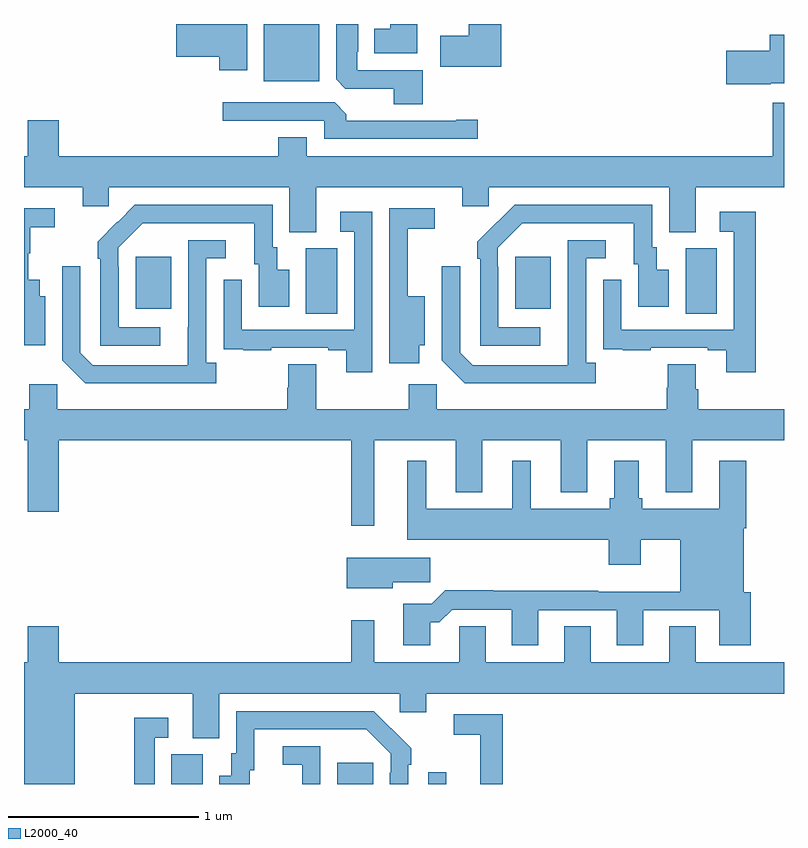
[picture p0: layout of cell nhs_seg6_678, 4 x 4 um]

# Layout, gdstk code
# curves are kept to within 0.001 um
import gdstk
lib = gdstk.Library(unit=1e-6, precision=1e-09)
def R(c, l, rs):  # rectangles x0, y0, x1, y1
    for r in rs: c.add(gdstk.rectangle(r[:2], r[2:], *l))
def P(c, l, *ps):  # polygons
    for p in ps: c.add(gdstk.Polygon(p, *l))
L2000_40 = (2000, 40)

nhs_seg6_678 = lib.new_cell('nhs_seg6_678')
R(nhs_seg6_678, L2000_40, [(153.776,973.5,153.94,973.656), (154.649,973.5,154.837,973.612), (155.127,973.5,155.223,973.561), (154.484,975.976,154.648,976.32), (156.482,975.976,156.646,976.32), (153.587,976.001,153.775,976.276), (155.585,976.001,155.773,976.276), (154.262,977.198,154.555,977.5)])
P(nhs_seg6_678, L2000_40, [(154.174,977.5),(153.8,977.5),(153.8,977.327),(154.028,977.327),(154.028,977.256),(154.174,977.256)],
  [(155.512,977.5),(155.342,977.5),(155.342,977.439),(155.19,977.439),(155.19,977.276),(155.512,977.276)],
  [(155.099,977.256),(154.755,977.256),(154.755,977.353),(154.759,977.353),(154.759,977.5),(154.643,977.5),(154.643,977.209),(154.692,977.16),(154.946,977.16),(154.946,977.077),(155.099,977.077)],
  [(155.071,977.5),(154.928,977.5),(154.928,977.476),(154.844,977.476),(154.844,977.345),(155.071,977.345)],
  [(156.93,977.189),(157,977.189),(157,977.443),(156.926,977.443),(156.926,977.36),(156.696,977.36),(156.696,977.182),(156.93,977.182)],
  [(155.389,976.997),(155.276,976.997),(155.276,976.992),(154.697,976.992),(154.697,977.026),(154.635,977.088),(154.047,977.088),(154.047,976.992),(154.581,976.992),(154.581,976.896),(155.389,976.896)],
  [(154.537,976.64),(155.306,976.64),(155.306,976.542),(155.445,976.542),(155.445,976.64),(156.395,976.64),(156.395,976.405),(156.535,976.405),(156.535,976.64),(157,976.64),(157,977.086),(156.942,977.086),(156.942,976.804),(154.489,976.804),(154.489,976.903),(154.337,976.903),(154.337,976.804),(153.184,976.804),(153.184,976.993),(153.02,976.993),(153.02,976.804),(153,976.804),(153,976.64),(153.308,976.64),(153.308,976.542),(153.447,976.542),(153.447,976.64),(154.397,976.64),(154.397,976.405),(154.537,976.405)],
  [(153.718,975.903),(153.498,975.903),(153.498,976.223),(153.495,976.223),(153.495,976.323),(153.624,976.452),(154.211,976.452),(154.211,976.236),(154.235,976.236),(154.235,976.011),(154.396,976.011),(154.396,976.207),(154.333,976.207),(154.333,976.326),(154.308,976.326),(154.308,976.548),(153.584,976.548),(153.387,976.353),(153.387,976.265),(153.402,976.265),(153.402,975.807),(153.718,975.807)],
  [(155.716,975.903),(155.496,975.903),(155.496,976.223),(155.493,976.223),(155.493,976.323),(155.622,976.452),(156.209,976.452),(156.209,976.236),(156.233,976.236),(156.233,976.011),(156.394,976.011),(156.394,976.207),(156.331,976.207),(156.331,976.326),(156.306,976.326),(156.306,976.548),(155.582,976.548),(155.385,976.353),(155.385,976.265),(155.4,976.265),(155.4,975.807),(155.716,975.807)],
  [(153.112,976.066),(153.082,976.066),(153.082,976.153),(153.023,976.153),(153.023,976.293),(153.034,976.293),(153.034,976.429),(153.163,976.429),(153.163,976.53),(153,976.53),(153,975.809),(153.112,975.809)],
  [(155.08,975.809),(155.11,975.809),(155.11,976.066),(155.021,976.066),(155.021,976.422),(155.161,976.422),(155.161,976.53),(154.923,976.53),(154.923,975.962),(154.922,975.962),(154.922,975.714),(155.08,975.714)],
  [(156.851,976.513),(156.663,976.513),(156.663,976.407),(156.735,976.407),(156.735,975.891),(156.144,975.891),(156.144,976.153),(156.048,976.153),(156.048,975.898),(156.049,975.898),(156.049,975.789),(156.151,975.789),(156.151,975.783),(156.299,975.783),(156.299,975.795),(156.599,975.795),(156.599,975.783),(156.695,975.783),(156.695,975.666),(156.851,975.666)],
  [(154.833,976.513),(154.665,976.513),(154.665,976.407),(154.737,976.407),(154.737,975.891),(154.146,975.891),(154.146,976.153),(154.05,976.153),(154.05,975.898),(154.051,975.898),(154.051,975.789),(154.153,975.789),(154.153,975.783),(154.301,975.783),(154.301,975.795),(154.601,975.795),(154.601,975.783),(154.697,975.783),(154.697,975.666),(154.833,975.666)],
  [(156.01,975.718),(155.958,975.718),(155.958,976.266),(156.061,976.266),(156.061,976.362),(155.862,976.362),(155.861,975.705),(155.361,975.705),(155.295,975.771),(155.295,976.225),(155.199,976.225),(155.199,975.729),(155.32,975.608),(156.01,975.608)],
  [(154.012,975.718),(153.96,975.718),(153.96,976.266),(154.063,976.266),(154.063,976.362),(153.864,976.362),(153.863,975.705),(153.363,975.705),(153.297,975.771),(153.297,976.225),(153.201,976.225),(153.201,975.729),(153.322,975.608),(154.012,975.608)],
  [(154.843,975.308),(155.273,975.308),(155.273,975.035),(155.413,975.035),(155.413,975.308),(155.825,975.308),(155.825,975.035),(155.965,975.035),(155.965,975.308),(156.377,975.308),(156.377,975.035),(156.517,975.035),(156.517,975.308),(157,975.308),(157,975.472),(156.548,975.472),(156.548,975.578),(156.535,975.578),(156.535,975.71),(156.388,975.71),(156.388,975.585),(156.383,975.585),(156.383,975.472),(155.172,975.472),(155.172,975.604),(155.026,975.604),(155.026,975.472),(154.537,975.472),(154.537,975.71),(154.39,975.71),(154.39,975.585),(154.385,975.585),(154.385,975.472),(153.174,975.472),(153.174,975.604),(153.028,975.604),(153.028,975.472),(153,975.472),(153,975.308),(153.02,975.308),(153.02,974.934),(153.184,974.934),(153.184,975.308),(154.722,975.308),(154.722,974.859),(154.843,974.859)],
  [(155.137,974.351),(155.186,974.351),(155.253,974.418),(155.567,974.418),(155.567,974.229),(155.707,974.229),(155.707,974.415),(156.119,974.415),(156.119,974.229),(156.259,974.229),(156.259,974.415),(156.659,974.415),(156.659,974.229),(156.824,974.229),(156.824,974.508),(156.787,974.508),(156.787,974.846),(156.8,974.846),(156.8,975.202),(156.659,975.202),(156.659,974.95),(156.255,974.95),(156.255,975.003),(156.235,975.003),(156.235,975.202),(156.107,975.202),(156.107,975.003),(156.082,975.003),(156.082,974.95),(155.668,974.95),(155.668,975.202),(155.57,975.202),(155.57,974.95),(155.116,974.95),(155.116,975.202),(155.018,975.202),(155.018,974.786),(156.077,974.786),(156.077,974.655),(156.247,974.655),(156.247,974.786),(156.455,974.786),(156.455,974.512),(156.023,974.512),(156.023,974.516),(155.471,974.516),(155.471,974.519),(155.216,974.519),(155.146,974.449),(154.997,974.449),(154.997,974.229),(155.137,974.229)],
  [(154.942,974.563),(155.137,974.563),(155.137,974.692),(154.698,974.692),(154.698,974.531),(154.942,974.531)],
  [(153.268,973.976),(153.887,973.976),(153.887,973.741),(154.027,973.741),(154.027,973.976),(154.977,973.976),(154.977,973.878),(155.116,973.878),(155.116,973.976),(157,973.976),(157,974.14),(156.535,974.14),(156.535,974.33),(156.395,974.33),(156.395,974.14),(155.983,974.14),(155.983,974.33),(155.843,974.33),(155.843,974.14),(155.431,974.14),(155.431,974.33),(155.292,974.33),(155.292,974.14),(154.843,974.14),(154.843,974.362),(154.722,974.362),(154.722,974.14),(153.184,974.14),(153.184,974.329),(153.02,974.329),(153.02,974.14),(153,974.14),(153,973.5),(153.268,973.5)],
  [(154.189,973.572),(154.213,973.572),(154.213,973.788),(154.801,973.788),(154.929,973.659),(154.929,973.559),(154.926,973.559),(154.926,973.5),(155.022,973.5),(155.022,973.601),(155.037,973.601),(155.037,973.689),(154.84,973.884),(154.116,973.884),(154.116,973.662),(154.091,973.662),(154.091,973.543),(154.028,973.543),(154.028,973.5),(154.189,973.5)],
  [(155.519,973.866),(155.262,973.866),(155.262,973.758),(155.402,973.758),(155.402,973.5),(155.519,973.5)],
  [(153.687,973.743),(153.76,973.743),(153.76,973.849),(153.579,973.849),(153.579,973.5),(153.687,973.5)],
  [(154.56,973.698),(154.362,973.698),(154.362,973.602),(154.464,973.602),(154.464,973.5),(154.56,973.5)])

lib.write_gds('nhs_seg6_678.gds')
